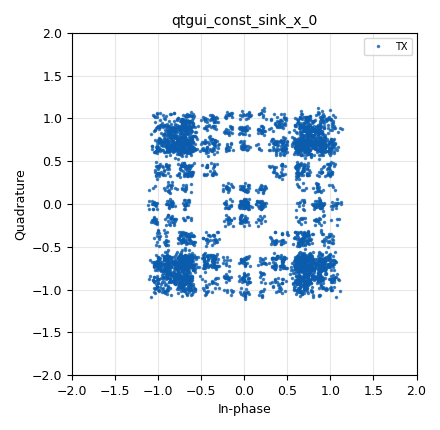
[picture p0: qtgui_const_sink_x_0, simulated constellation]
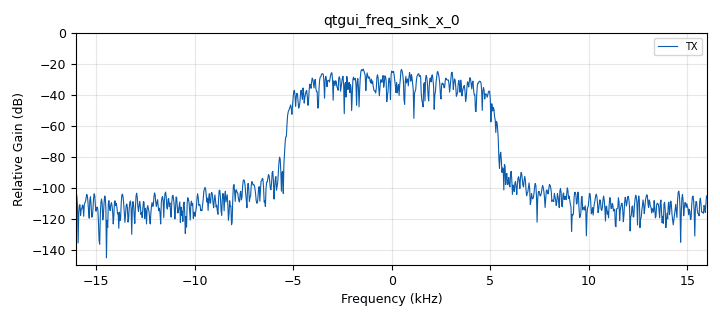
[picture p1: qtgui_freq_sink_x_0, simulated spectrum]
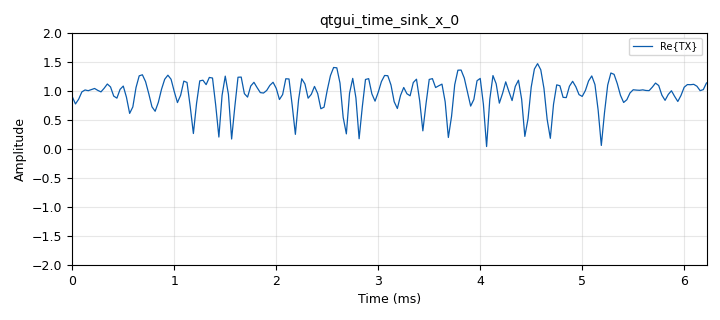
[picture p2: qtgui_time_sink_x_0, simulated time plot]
options:
  parameters:
    author: mg
    generate_options: qt_gui
    id: bert
    output_language: python
    title: Experiments in BERT
  states: {}

blocks:
- name: arity
  id: variable
  parameters:
    value: '4'
  states: {}
- name: excess_bw
  id: variable
  parameters:
    value: '0.35'
  states: {}
- name: qpsk
  id: variable_constellation_rect
  parameters:
    const_points: '[0.707+0.707j, -0.707+0.707j, -0.707-0.707j, 0.707-0.707j]'
    imag_sect: '2'
    real_sect: '2'
    rot_sym: '4'
    sym_map: '[0, 1, 2, 3]'
    w_imag_sect: '1'
    w_real_sect: '1'
  states: {}
- name: samp_rate
  id: variable
  parameters:
    value: '32000'
  states: {}
- name: sps
  id: variable
  parameters:
    value: '4'
  states: {}
- name: analog_random_source_x_0
  id: analog_random_source_x
  parameters:
    max: '256'
    min: '0'
    num_samps: '10000'
    repeat: 'True'
    type: byte
  states: {}
- name: blocks_complex_to_mag_0
  id: blocks_complex_to_mag
  parameters: {}
  states: {}
- name: blocks_throttle_0
  id: blocks_throttle
  parameters:
    samples_per_second: samp_rate
    type: complex
  states: {}
- name: digital_constellation_modulator_0
  id: digital_constellation_modulator
  parameters:
    constellation: qpsk
    differential: 'True'
    excess_bw: excess_bw
    samples_per_symbol: sps
  states: {}
- name: qtgui_const_sink_x_0
  id: qtgui_const_sink_x
  parameters:
    alpha1: '0.75'
    gui_hint: 0,1,1,1
    label1: TX
    name: ''
    size: 1024*4
    type: complex
  states: {}
- name: qtgui_freq_sink_x_0
  id: qtgui_freq_sink_x
  parameters:
    alpha1: '0.6'
    bw: samp_rate
    fc: '0'
    fftsize: '1024'
    gui_hint: 1,0,1,2
    label1: TX
    name: ''
    showports: 'True'
    type: complex
    width1: '2'
    wintype: firdes.WIN_BLACKMAN_hARRIS
    ymax: '0'
    ymin: '-150'
  states: {}
- name: qtgui_time_sink_x_0
  id: qtgui_time_sink_x
  parameters:
    alpha1: '0.5'
    ctrlpanel: 'True'
    gui_hint: 0,0,1,1
    label1: Re{TX}
    name: ''
    size: '200'
    srate: samp_rate
    type: float
    ymax: '2'
    ymin: '-2'
  states: {}

connections:
- [analog_random_source_x_0, '0', digital_constellation_modulator_0, '0']
- [blocks_complex_to_mag_0, '0', qtgui_time_sink_x_0, '0']
- [blocks_throttle_0, '0', blocks_complex_to_mag_0, '0']
- [blocks_throttle_0, '0', qtgui_const_sink_x_0, '0']
- [blocks_throttle_0, '0', qtgui_freq_sink_x_0, '0']
- [digital_constellation_modulator_0, '0', blocks_throttle_0, '0']

metadata:
  file_format: 1
